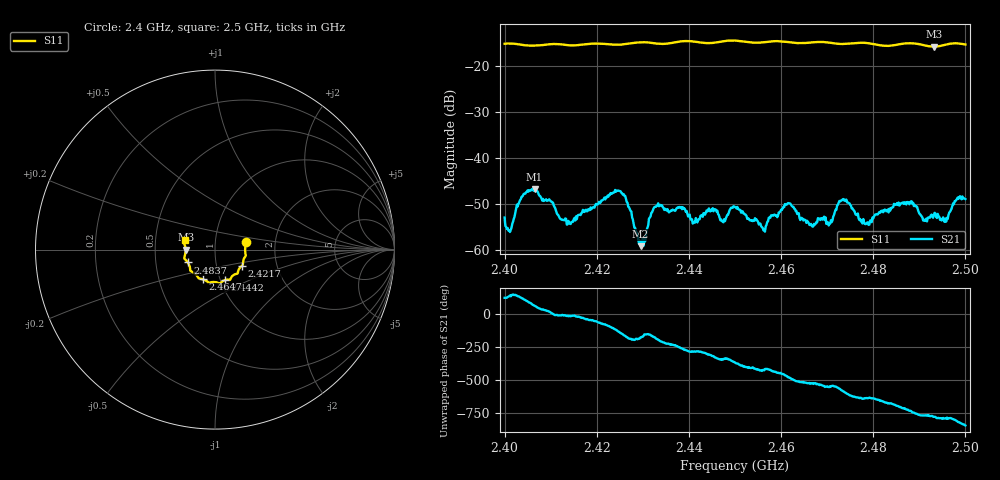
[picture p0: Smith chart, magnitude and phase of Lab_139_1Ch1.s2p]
# Hz S RI R 50
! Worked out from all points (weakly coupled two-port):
!   601 points, 2.4 GHz to 2.5 GHz, reference 50 ohm
!   highest |S21| = -46.75 dB at 2.4065 GHz (marker M1); lowest = -59.2 dB at 2.4295 GHz (marker M2)
!   lowest |S11| = -15.7 dB at 2.4932 GHz (marker M3), VSWR 1.39, Z = 35.9 - j0.0596 ohm
!   |S11| at or under -10 dB: start of sweep to end of sweep
!   S12 and S22 are empty: the file has one direction only
!   S11 on the Smith chart (normalised r, x): 2.4 GHz: 1.41, +0.12; 2.4217 GHz: 1.33, -0.25; 2.4442 GHz: 1.05, -0.37; 2.4647 GHz: 0.83, -0.28; 2.4837 GHz: 0.73, -0.11; 2.5 GHz: 0.71, +0.07
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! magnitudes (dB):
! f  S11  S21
! 2.4 GHz  -15.1  -53.0
! 2.4012 GHz  -15.0  -56.1
! 2.4038 GHz  -15.3  -48.4
! 2.4065 GHz  -15.5  -46.7
! 2.414 GHz  -15.4  -54.0
! 2.4167 GHz  -15.3  -52.0
! 2.4217 GHz  -15.1  -48.6
! 2.4257 GHz  -15.2  -48.0
! 2.4295 GHz  -14.8  -59.2
! 2.4333 GHz  -15.1  -49.9
! 2.4442 GHz  -15.0  -51.4
! 2.45 GHz  -14.4  -50.7
! 2.4562 GHz  -14.8  -55.8
! 2.4613 GHz  -14.7  -50.0
! 2.4647 GHz  -15.0  -53.2
! 2.4667 GHz  -14.8  -54.7
! 2.4733 GHz  -15.1  -49.1
! 2.4787 GHz  -15.0  -54.1
! 2.4833 GHz  -15.6  -51.9
! 2.4837 GHz  -15.5  -51.5
! 2.4932 GHz  -15.7  -52.4
! 2.5 GHz  -15.3  -49.0
